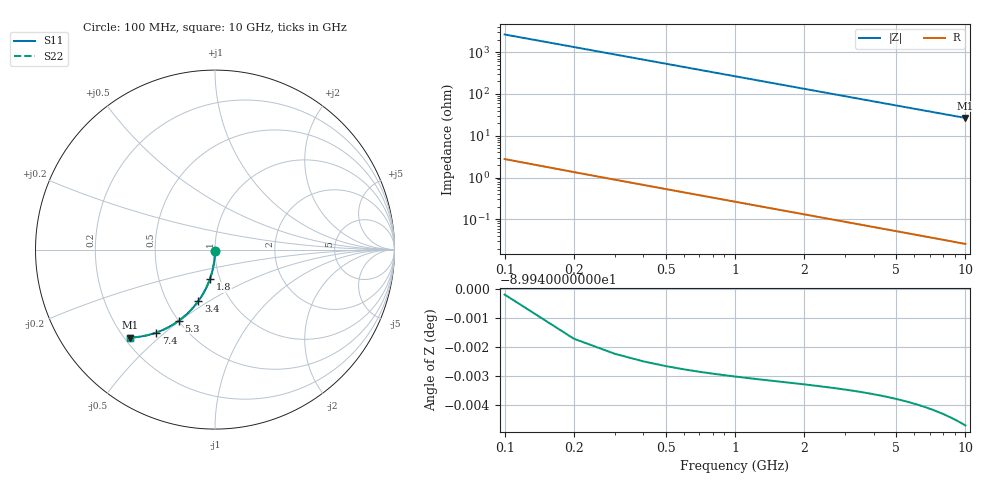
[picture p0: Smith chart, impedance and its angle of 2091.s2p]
# Hz S RI R 50.00
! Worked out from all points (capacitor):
!   100 points, 100 MHz to 10 GHz, reference 50 ohm
!   read as one part in shunt: C = 600 fF near 100 MHz
!   lowest |Z| = 26.7 ohm at 10 GHz (marker M1)
!   S11 on the Smith chart (normalised r, x): 100 MHz: 1.00, -0.02; 1.8 GHz: 0.90, -0.30; 3.4 GHz: 0.71, -0.45; 5.3 GHz: 0.50, -0.50; 7.4 GHz: 0.34, -0.47; 10 GHz: 0.22, -0.41
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1e8  -6.77e-05 -0.00934  0.9999 -0.00951  0.9999 -0.00951  -6.77e-05 -0.00934
2e8  -0.000343 -0.0187  0.9996 -0.019  0.9996 -0.019  -0.000343 -0.0187
3e8  -0.000796 -0.028  0.9991 -0.0285  0.9991 -0.0285  -0.000796 -0.028
4e8  -0.00143 -0.0373  0.9985 -0.038  0.9985 -0.038  -0.00143 -0.0373
5e8  -0.00223 -0.0466  0.9977 -0.0475  0.9977 -0.0475  -0.00223 -0.0466
6e8  -0.00321 -0.0559  0.9967 -0.0569  0.9967 -0.0569  -0.00321 -0.0559
8e8  -0.0057 -0.0743  0.9942 -0.0757  0.9942 -0.0757  -0.0057 -0.0743
9e8  -0.0072 -0.0835  0.9927 -0.085  0.9927 -0.085  -0.0072 -0.0835
1.1e9  -0.0107 -0.1017  0.9892 -0.1035  0.9892 -0.1035  -0.0107 -0.1017
1.4e9  -0.0172 -0.1285  0.9827 -0.1309  0.9827 -0.1309  -0.0172 -0.1285
1.8e9  -0.0281 -0.1634  0.9718 -0.1664  0.9718 -0.1664  -0.0281 -0.1634
2.1e9  -0.0379 -0.1887  0.9621 -0.1922  0.9621 -0.1922  -0.0379 -0.1887
2.5e9  -0.0528 -0.2211  0.9471 -0.2253  0.9471 -0.2253  -0.0528 -0.2211
2.9e9  -0.0698 -0.2518  0.9302 -0.2567  0.9302 -0.2567  -0.0698 -0.2518
3.4e9  -0.0934 -0.2877  0.9065 -0.2934  0.9065 -0.2934  -0.0934 -0.2877
4.2e9  -0.1358 -0.3386  0.8641 -0.3457  0.8641 -0.3457  -0.1358 -0.3386
5.1e9  -0.1881 -0.386  0.8118 -0.3946  0.8118 -0.3946  -0.1881 -0.386
5.3e9  -0.2001 -0.3951  0.7998 -0.4041  0.7998 -0.4041  -0.2001 -0.3951
6.7e9  -0.2856 -0.4455  0.7143 -0.4569  0.7143 -0.4569  -0.2856 -0.4455
7.4e9  -0.3278 -0.4626  0.6721 -0.4753  0.6721 -0.4753  -0.3278 -0.4626
8.4e9  -0.3859 -0.4791  0.6139 -0.4935  0.6139 -0.4935  -0.3859 -0.4791
1e10  -0.4712 -0.49  0.5286 -0.5073  0.5286 -0.5073  -0.4712 -0.49
